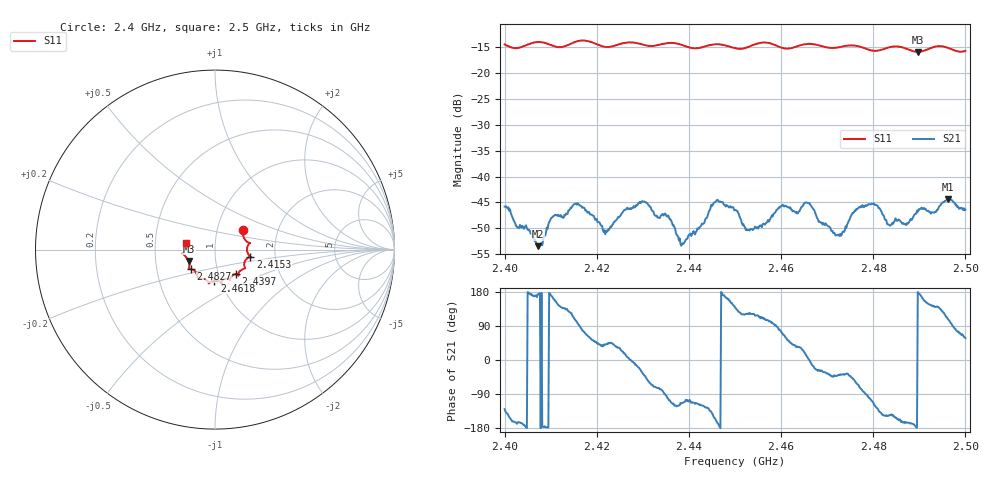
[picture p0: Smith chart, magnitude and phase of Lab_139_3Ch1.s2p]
# Hz S RI R 50
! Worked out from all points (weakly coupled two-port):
!   601 points, 2.4 GHz to 2.5 GHz, reference 50 ohm
!   highest |S21| = -44.34 dB at 2.4962 GHz (marker M1); lowest = -53.4 dB at 2.4072 GHz (marker M2)
!   lowest |S11| = -15.9 dB at 2.4897 GHz (marker M3), VSWR 1.38, Z = 36.9 - j4.83 ohm
!   |S11| at or under -10 dB: start of sweep to end of sweep
!   S12 and S22 are empty: the file has one direction only
!   S11 on the Smith chart (normalised r, x): 2.4 GHz: 1.33, +0.30; 2.4153 GHz: 1.48, -0.12; 2.4397 GHz: 1.21, -0.34; 2.4618 GHz: 0.94, -0.33; 2.4827 GHz: 0.75, -0.17; 2.5 GHz: 0.72, +0.06
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2.4e9  0.1557 0.1071  -0.00329 -0.00394  0 0  0 0
2.407167e9  0.1964 0.037  -0.00211 0.000259  0 0  0 0
2.4105e9  0.1823 0.0206  -0.00396 0.00117  0 0  0 0
2.415333e9  0.1963 -0.0395  -0.0015 0.00527  0 0  0 0
2.416667e9  0.2019 -0.0434  0.000659 0.00513  0 0  0 0
2.421833e9  0.1684 -0.0618  0.0021 0.00181  0 0  0 0
2.429833e9  0.155 -0.1094  0.00491 -0.00309  0 0  0 0
2.433333e9  0.13 -0.1342  0.00112 -0.00387  0 0  0 0
2.439667e9  0.1166 -0.1362  -0.000677 -0.00242  0 0  0 0
2.445833e9  0.0837 -0.1706  -0.00534 -0.00214  0 0  0 0
2.45e9  0.0645 -0.1616  -0.00358 0.00314  0 0  0 0
2.452833e9  0.0392 -0.1742  -0.00164 0.00256  0 0  0 0
2.461833e9  -0.00314 -0.1731  0.00334 0.00366  0 0  0 0
2.466667e9  -0.0348 -0.1883  0.00499 -0.00107  0 0  0 0
2.472167e9  -0.0723 -0.1609  0.00203 -0.00181  0 0  0 0
2.477333e9  -0.0975 -0.1502  0.00123 -0.00503  0 0  0 0
2.4805e9  -0.1139 -0.1182  -0.00287 -0.00445  0 0  0 0
2.482667e9  -0.1349 -0.1085  -0.00322 -0.00206  0 0  0 0
2.483333e9  -0.1399 -0.1082  -0.0029 -0.00187  0 0  0 0
2.489667e9  -0.1471 -0.0637  -0.00458 3.62e-05  0 0  0 0
2.496167e9  -0.1752 -0.0141  -0.00195 0.00575  0 0  0 0
2.5e9  -0.1593 0.0387  0.00255 0.00406  0 0  0 0
